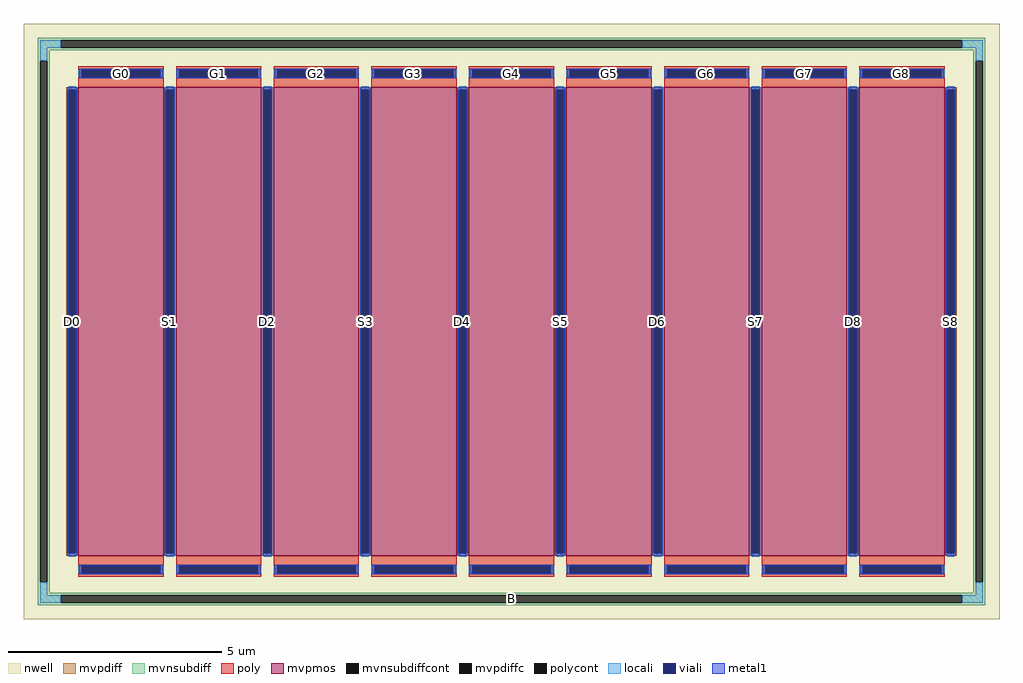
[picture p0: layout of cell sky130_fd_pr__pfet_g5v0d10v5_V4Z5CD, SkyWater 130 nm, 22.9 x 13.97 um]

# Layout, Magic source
magic
tech sky130A
magscale 1 2
<< nwell >>
rect -2290 -1397 2290 1397
<< mvpmos >>
rect -2032 -1100 -1632 1100
rect -1574 -1100 -1174 1100
rect -1116 -1100 -716 1100
rect -658 -1100 -258 1100
rect -200 -1100 200 1100
rect 258 -1100 658 1100
rect 716 -1100 1116 1100
rect 1174 -1100 1574 1100
rect 1632 -1100 2032 1100
<< mvpdiff >>
rect -2090 1088 -2032 1100
rect -2090 -1088 -2078 1088
rect -2044 -1088 -2032 1088
rect -2090 -1100 -2032 -1088
rect -1632 1088 -1574 1100
rect -1632 -1088 -1620 1088
rect -1586 -1088 -1574 1088
rect -1632 -1100 -1574 -1088
rect -1174 1088 -1116 1100
rect -1174 -1088 -1162 1088
rect -1128 -1088 -1116 1088
rect -1174 -1100 -1116 -1088
rect -716 1088 -658 1100
rect -716 -1088 -704 1088
rect -670 -1088 -658 1088
rect -716 -1100 -658 -1088
rect -258 1088 -200 1100
rect -258 -1088 -246 1088
rect -212 -1088 -200 1088
rect -258 -1100 -200 -1088
rect 200 1088 258 1100
rect 200 -1088 212 1088
rect 246 -1088 258 1088
rect 200 -1100 258 -1088
rect 658 1088 716 1100
rect 658 -1088 670 1088
rect 704 -1088 716 1088
rect 658 -1100 716 -1088
rect 1116 1088 1174 1100
rect 1116 -1088 1128 1088
rect 1162 -1088 1174 1088
rect 1116 -1100 1174 -1088
rect 1574 1088 1632 1100
rect 1574 -1088 1586 1088
rect 1620 -1088 1632 1088
rect 1574 -1100 1632 -1088
rect 2032 1088 2090 1100
rect 2032 -1088 2044 1088
rect 2078 -1088 2090 1088
rect 2032 -1100 2090 -1088
<< mvpdiffc >>
rect -2078 -1088 -2044 1088
rect -1620 -1088 -1586 1088
rect -1162 -1088 -1128 1088
rect -704 -1088 -670 1088
rect -246 -1088 -212 1088
rect 212 -1088 246 1088
rect 670 -1088 704 1088
rect 1128 -1088 1162 1088
rect 1586 -1088 1620 1088
rect 2044 -1088 2078 1088
<< mvnsubdiff >>
rect -2224 1319 2224 1331
rect -2224 1285 -2116 1319
rect 2116 1285 2224 1319
rect -2224 1273 2224 1285
rect -2224 1223 -2166 1273
rect -2224 -1223 -2212 1223
rect -2178 -1223 -2166 1223
rect 2166 1223 2224 1273
rect -2224 -1273 -2166 -1223
rect 2166 -1223 2178 1223
rect 2212 -1223 2224 1223
rect 2166 -1273 2224 -1223
rect -2224 -1285 2224 -1273
rect -2224 -1319 -2116 -1285
rect 2116 -1319 2224 -1285
rect -2224 -1331 2224 -1319
<< mvnsubdiffcont >>
rect -2116 1285 2116 1319
rect -2212 -1223 -2178 1223
rect 2178 -1223 2212 1223
rect -2116 -1319 2116 -1285
<< poly >>
rect -2032 1181 -1632 1197
rect -2032 1147 -2016 1181
rect -1648 1147 -1632 1181
rect -2032 1100 -1632 1147
rect -1574 1181 -1174 1197
rect -1574 1147 -1558 1181
rect -1190 1147 -1174 1181
rect -1574 1100 -1174 1147
rect -1116 1181 -716 1197
rect -1116 1147 -1100 1181
rect -732 1147 -716 1181
rect -1116 1100 -716 1147
rect -658 1181 -258 1197
rect -658 1147 -642 1181
rect -274 1147 -258 1181
rect -658 1100 -258 1147
rect -200 1181 200 1197
rect -200 1147 -184 1181
rect 184 1147 200 1181
rect -200 1100 200 1147
rect 258 1181 658 1197
rect 258 1147 274 1181
rect 642 1147 658 1181
rect 258 1100 658 1147
rect 716 1181 1116 1197
rect 716 1147 732 1181
rect 1100 1147 1116 1181
rect 716 1100 1116 1147
rect 1174 1181 1574 1197
rect 1174 1147 1190 1181
rect 1558 1147 1574 1181
rect 1174 1100 1574 1147
rect 1632 1181 2032 1197
rect 1632 1147 1648 1181
rect 2016 1147 2032 1181
rect 1632 1100 2032 1147
rect -2032 -1147 -1632 -1100
rect -2032 -1181 -2016 -1147
rect -1648 -1181 -1632 -1147
rect -2032 -1197 -1632 -1181
rect -1574 -1147 -1174 -1100
rect -1574 -1181 -1558 -1147
rect -1190 -1181 -1174 -1147
rect -1574 -1197 -1174 -1181
rect -1116 -1147 -716 -1100
rect -1116 -1181 -1100 -1147
rect -732 -1181 -716 -1147
rect -1116 -1197 -716 -1181
rect -658 -1147 -258 -1100
rect -658 -1181 -642 -1147
rect -274 -1181 -258 -1147
rect -658 -1197 -258 -1181
rect -200 -1147 200 -1100
rect -200 -1181 -184 -1147
rect 184 -1181 200 -1147
rect -200 -1197 200 -1181
rect 258 -1147 658 -1100
rect 258 -1181 274 -1147
rect 642 -1181 658 -1147
rect 258 -1197 658 -1181
rect 716 -1147 1116 -1100
rect 716 -1181 732 -1147
rect 1100 -1181 1116 -1147
rect 716 -1197 1116 -1181
rect 1174 -1147 1574 -1100
rect 1174 -1181 1190 -1147
rect 1558 -1181 1574 -1147
rect 1174 -1197 1574 -1181
rect 1632 -1147 2032 -1100
rect 1632 -1181 1648 -1147
rect 2016 -1181 2032 -1147
rect 1632 -1197 2032 -1181
<< polycont >>
rect -2016 1147 -1648 1181
rect -1558 1147 -1190 1181
rect -1100 1147 -732 1181
rect -642 1147 -274 1181
rect -184 1147 184 1181
rect 274 1147 642 1181
rect 732 1147 1100 1181
rect 1190 1147 1558 1181
rect 1648 1147 2016 1181
rect -2016 -1181 -1648 -1147
rect -1558 -1181 -1190 -1147
rect -1100 -1181 -732 -1147
rect -642 -1181 -274 -1147
rect -184 -1181 184 -1147
rect 274 -1181 642 -1147
rect 732 -1181 1100 -1147
rect 1190 -1181 1558 -1147
rect 1648 -1181 2016 -1147
<< locali >>
rect -2212 1285 -2116 1319
rect 2116 1285 2212 1319
rect -2212 1223 -2178 1285
rect 2178 1223 2212 1285
rect -2032 1147 -2016 1181
rect -1648 1147 -1632 1181
rect -1574 1147 -1558 1181
rect -1190 1147 -1174 1181
rect -1116 1147 -1100 1181
rect -732 1147 -716 1181
rect -658 1147 -642 1181
rect -274 1147 -258 1181
rect -200 1147 -184 1181
rect 184 1147 200 1181
rect 258 1147 274 1181
rect 642 1147 658 1181
rect 716 1147 732 1181
rect 1100 1147 1116 1181
rect 1174 1147 1190 1181
rect 1558 1147 1574 1181
rect 1632 1147 1648 1181
rect 2016 1147 2032 1181
rect -2078 1088 -2044 1104
rect -2078 -1104 -2044 -1088
rect -1620 1088 -1586 1104
rect -1620 -1104 -1586 -1088
rect -1162 1088 -1128 1104
rect -1162 -1104 -1128 -1088
rect -704 1088 -670 1104
rect -704 -1104 -670 -1088
rect -246 1088 -212 1104
rect -246 -1104 -212 -1088
rect 212 1088 246 1104
rect 212 -1104 246 -1088
rect 670 1088 704 1104
rect 670 -1104 704 -1088
rect 1128 1088 1162 1104
rect 1128 -1104 1162 -1088
rect 1586 1088 1620 1104
rect 1586 -1104 1620 -1088
rect 2044 1088 2078 1104
rect 2044 -1104 2078 -1088
rect -2032 -1181 -2016 -1147
rect -1648 -1181 -1632 -1147
rect -1574 -1181 -1558 -1147
rect -1190 -1181 -1174 -1147
rect -1116 -1181 -1100 -1147
rect -732 -1181 -716 -1147
rect -658 -1181 -642 -1147
rect -274 -1181 -258 -1147
rect -200 -1181 -184 -1147
rect 184 -1181 200 -1147
rect 258 -1181 274 -1147
rect 642 -1181 658 -1147
rect 716 -1181 732 -1147
rect 1100 -1181 1116 -1147
rect 1174 -1181 1190 -1147
rect 1558 -1181 1574 -1147
rect 1632 -1181 1648 -1147
rect 2016 -1181 2032 -1147
rect -2212 -1285 -2178 -1223
rect 2178 -1285 2212 -1223
rect -2212 -1319 -2116 -1285
rect 2116 -1319 2212 -1285
<< viali >>
rect -2016 1147 -1648 1181
rect -1558 1147 -1190 1181
rect -1100 1147 -732 1181
rect -642 1147 -274 1181
rect -184 1147 184 1181
rect 274 1147 642 1181
rect 732 1147 1100 1181
rect 1190 1147 1558 1181
rect 1648 1147 2016 1181
rect -2078 -1088 -2044 1088
rect -1620 -1088 -1586 1088
rect -1162 -1088 -1128 1088
rect -704 -1088 -670 1088
rect -246 -1088 -212 1088
rect 212 -1088 246 1088
rect 670 -1088 704 1088
rect 1128 -1088 1162 1088
rect 1586 -1088 1620 1088
rect 2044 -1088 2078 1088
rect -2016 -1181 -1648 -1147
rect -1558 -1181 -1190 -1147
rect -1100 -1181 -732 -1147
rect -642 -1181 -274 -1147
rect -184 -1181 184 -1147
rect 274 -1181 642 -1147
rect 732 -1181 1100 -1147
rect 1190 -1181 1558 -1147
rect 1648 -1181 2016 -1147
<< metal1 >>
rect -2028 1181 -1636 1187
rect -2028 1147 -2016 1181
rect -1648 1147 -1636 1181
rect -2028 1141 -1636 1147
rect -1570 1181 -1178 1187
rect -1570 1147 -1558 1181
rect -1190 1147 -1178 1181
rect -1570 1141 -1178 1147
rect -1112 1181 -720 1187
rect -1112 1147 -1100 1181
rect -732 1147 -720 1181
rect -1112 1141 -720 1147
rect -654 1181 -262 1187
rect -654 1147 -642 1181
rect -274 1147 -262 1181
rect -654 1141 -262 1147
rect -196 1181 196 1187
rect -196 1147 -184 1181
rect 184 1147 196 1181
rect -196 1141 196 1147
rect 262 1181 654 1187
rect 262 1147 274 1181
rect 642 1147 654 1181
rect 262 1141 654 1147
rect 720 1181 1112 1187
rect 720 1147 732 1181
rect 1100 1147 1112 1181
rect 720 1141 1112 1147
rect 1178 1181 1570 1187
rect 1178 1147 1190 1181
rect 1558 1147 1570 1181
rect 1178 1141 1570 1147
rect 1636 1181 2028 1187
rect 1636 1147 1648 1181
rect 2016 1147 2028 1181
rect 1636 1141 2028 1147
rect -2084 1088 -2038 1100
rect -2084 -1088 -2078 1088
rect -2044 -1088 -2038 1088
rect -2084 -1100 -2038 -1088
rect -1626 1088 -1580 1100
rect -1626 -1088 -1620 1088
rect -1586 -1088 -1580 1088
rect -1626 -1100 -1580 -1088
rect -1168 1088 -1122 1100
rect -1168 -1088 -1162 1088
rect -1128 -1088 -1122 1088
rect -1168 -1100 -1122 -1088
rect -710 1088 -664 1100
rect -710 -1088 -704 1088
rect -670 -1088 -664 1088
rect -710 -1100 -664 -1088
rect -252 1088 -206 1100
rect -252 -1088 -246 1088
rect -212 -1088 -206 1088
rect -252 -1100 -206 -1088
rect 206 1088 252 1100
rect 206 -1088 212 1088
rect 246 -1088 252 1088
rect 206 -1100 252 -1088
rect 664 1088 710 1100
rect 664 -1088 670 1088
rect 704 -1088 710 1088
rect 664 -1100 710 -1088
rect 1122 1088 1168 1100
rect 1122 -1088 1128 1088
rect 1162 -1088 1168 1088
rect 1122 -1100 1168 -1088
rect 1580 1088 1626 1100
rect 1580 -1088 1586 1088
rect 1620 -1088 1626 1088
rect 1580 -1100 1626 -1088
rect 2038 1088 2084 1100
rect 2038 -1088 2044 1088
rect 2078 -1088 2084 1088
rect 2038 -1100 2084 -1088
rect -2028 -1147 -1636 -1141
rect -2028 -1181 -2016 -1147
rect -1648 -1181 -1636 -1147
rect -2028 -1187 -1636 -1181
rect -1570 -1147 -1178 -1141
rect -1570 -1181 -1558 -1147
rect -1190 -1181 -1178 -1147
rect -1570 -1187 -1178 -1181
rect -1112 -1147 -720 -1141
rect -1112 -1181 -1100 -1147
rect -732 -1181 -720 -1147
rect -1112 -1187 -720 -1181
rect -654 -1147 -262 -1141
rect -654 -1181 -642 -1147
rect -274 -1181 -262 -1147
rect -654 -1187 -262 -1181
rect -196 -1147 196 -1141
rect -196 -1181 -184 -1147
rect 184 -1181 196 -1147
rect -196 -1187 196 -1181
rect 262 -1147 654 -1141
rect 262 -1181 274 -1147
rect 642 -1181 654 -1147
rect 262 -1187 654 -1181
rect 720 -1147 1112 -1141
rect 720 -1181 732 -1147
rect 1100 -1181 1112 -1147
rect 720 -1187 1112 -1181
rect 1178 -1147 1570 -1141
rect 1178 -1181 1190 -1147
rect 1558 -1181 1570 -1147
rect 1178 -1187 1570 -1181
rect 1636 -1147 2028 -1141
rect 1636 -1181 1648 -1147
rect 2016 -1181 2028 -1147
rect 1636 -1187 2028 -1181
<< labels >>
rlabel mvnsubdiffcont 0 -1302 0 -1302 0 B
port 1 nsew
rlabel mvpdiffc -2061 0 -2061 0 0 D0
port 2 nsew
rlabel polycont -1832 1164 -1832 1164 0 G0
port 3 nsew
rlabel mvpdiffc -1603 0 -1603 0 0 S1
port 4 nsew
rlabel polycont -1374 1164 -1374 1164 0 G1
port 5 nsew
rlabel mvpdiffc -1145 0 -1145 0 0 D2
port 6 nsew
rlabel polycont -916 1164 -916 1164 0 G2
port 7 nsew
rlabel mvpdiffc -687 0 -687 0 0 S3
port 8 nsew
rlabel polycont -458 1164 -458 1164 0 G3
port 9 nsew
rlabel mvpdiffc -229 0 -229 0 0 D4
port 10 nsew
rlabel polycont 0 1164 0 1164 0 G4
port 11 nsew
rlabel mvpdiffc 229 0 229 0 0 S5
port 12 nsew
rlabel polycont 458 1164 458 1164 0 G5
port 13 nsew
rlabel mvpdiffc 687 0 687 0 0 D6
port 14 nsew
rlabel polycont 916 1164 916 1164 0 G6
port 15 nsew
rlabel mvpdiffc 1145 0 1145 0 0 S7
port 16 nsew
rlabel polycont 1374 1164 1374 1164 0 G7
port 17 nsew
rlabel mvpdiffc 1603 0 1603 0 0 D8
port 18 nsew
rlabel mvpdiffc 2061 0 2061 0 0 S8
port 19 nsew
rlabel polycont 1832 1164 1832 1164 0 G8
port 20 nsew
<< properties >>
string FIXED_BBOX -2195 -1302 2195 1302
string gencell sky130_fd_pr__pfet_g5v0d10v5
string library sky130
string parameters w 11 l 2 m 1 nf 9 diffcov 100 polycov 100 guard 1 glc 1 grc 1 gtc 1 gbc 1 tbcov 100 rlcov 100 topc 1 botc 1 poverlap 0 doverlap 1 lmin 0.50 wmin 0.42 class mosfet compatible {sky130_fd_pr__pfet_01v8  sky130_fd_pr__pfet_01v8_lvt sky130_fd_pr__pfet_01v8_hvt  sky130_fd_pr__pfet_g5v0d10v5} full_metal 1 conn_gates 0 viasrc 100 viadrn 100 viagate 100 viagb 0 viagr 0 viagl 0 viagt 0 doports 1
<< end >>
